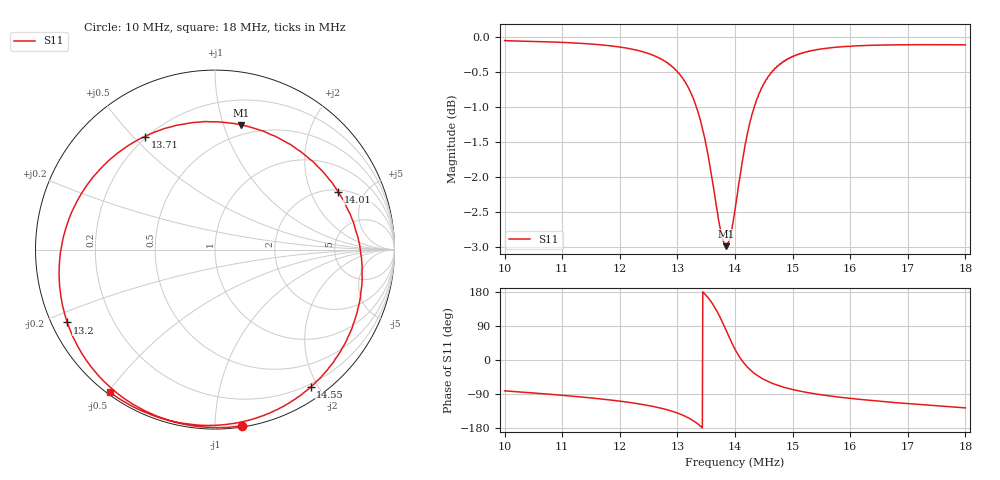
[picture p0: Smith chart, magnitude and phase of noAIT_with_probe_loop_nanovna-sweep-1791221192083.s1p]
! NanoVNA Web complex sweep
! Processing: unaveraged complex samples; linear segment spacing; no smoothing
# Hz S RI R 50
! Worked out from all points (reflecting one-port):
!   1010 points, 10 MHz to 18 MHz, reference 50 ohm
!   lowest |S11| = -3.0 dB at 13.85 MHz (marker M1), VSWR 5.88, Z = 20.5 + j57.3 ohm
!   phase of S11 starts at -81 deg and turns -405 deg over the sweep
!   S11 on the Smith chart (normalised r, x): 10 MHz: 0.01, -1.16; 13.2 MHz: 0.05, -0.23; 13.71 MHz: 0.19, +0.54; 14.01 MHz: 2.10, +3.19; 14.55 MHz: 0.16, -1.90; 18 MHz: 0.01, -0.51
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1e7  0.1478 -0.9827
1.100698e7  -0.056 -0.9892
1.200604e7  -0.3152 -0.9314
1.260864e7  -0.535 -0.8079
1.282272e7  -0.6332 -0.719
1.300509e7  -0.7256 -0.6038
1.320332e7  -0.823 -0.4061
1.337775e7  -0.869 -0.1292
1.350462e7  -0.8211 0.1496
1.36077e7  -0.6777 0.4063
1.36632e7  -0.5432 0.5373
1.371077e7  -0.3908 0.6299
1.378213e7  -0.1213 0.708
1.384556e7  0.1464 0.6938
1.391693e7  0.4228 0.5843
1.400414e7  0.6705 0.3455
1.401207e7  0.6868 0.3226
1.406758e7  0.773 0.1475
1.413101e7  0.8162 -0.0457
1.427373e7  0.776 -0.4006
1.44006e7  0.6697 -0.6104
1.455125e7  0.5322 -0.7661
1.474154e7  0.3754 -0.8765
1.50032e7  0.2011 -0.947
1.544722e7  -0.0101 -0.9793
1.600225e7  -0.192 -0.9652
1.700131e7  -0.4198 -0.8933
1.800036e7  -0.5851 -0.7947
